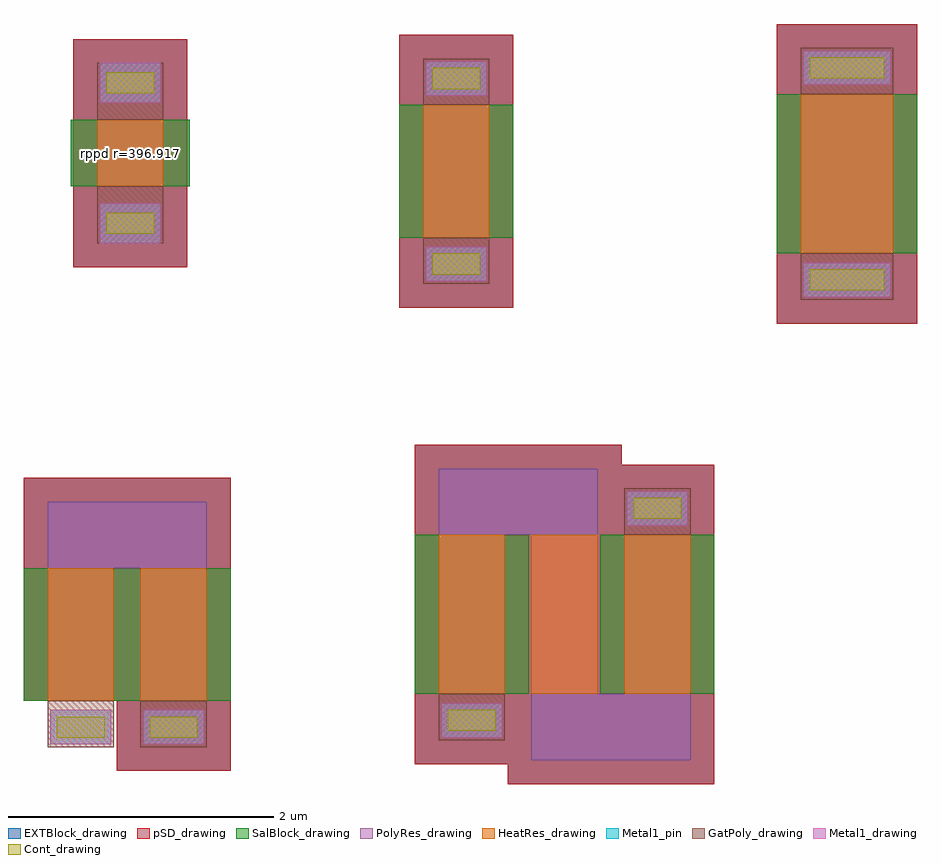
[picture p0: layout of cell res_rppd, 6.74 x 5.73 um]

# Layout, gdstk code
import gdstk
lib = gdstk.Library(unit=1e-6, precision=1e-09)
def R(c, l, rs):  # rectangles x0, y0, x1, y1
    for r in rs: c.add(gdstk.rectangle(r[:2], r[2:], *l))
def A(c, l, x, y, w, h, nx, ny, dx, dy):  # array of equal rectangles
    R(c, l, [(x+i*dx, y+j*dy, x+i*dx+w, y+j*dy+h) for i in range(nx) for j in range(ny)])
GatPoly_drawing = (5, 0)
Cont_drawing = (6, 0)
Metal1_drawing = (8, 0)
Metal1_pin = (8, 2)
pSD_drawing = (14, 0)
SalBlock_drawing = (28, 0)
HeatRes_drawing = (52, 0)
EXTBlock_drawing = (111, 0)
PolyRes_drawing = (128, 0)

res_rppd = lib.new_cell('res_rppd')
R(res_rppd, GatPoly_drawing, [(2.209,-4.231,2.709,-3.881), (2.909,-4.231,3.409,-3.881), (5.159,-4.18,5.659,-3.83), (6.559,-2.63,7.059,-2.28), (7.889,-0.856,8.589,-0.506), (5.042,-0.737,5.542,-0.387), (2.582,-0.43,3.082,-0.2), (2.582,-0.2,3.082,0), (2.582,0.5,3.082,0.7), (5.042,0.613,5.542,0.963), (7.889,0.694,8.589,1.044), (2.582,0.7,3.082,0.93)])
R(res_rppd, Cont_drawing, [(2.279,-4.161,2.639,-4.001), (2.979,-4.161,3.339,-4.001), (5.229,-4.11,5.589,-3.95), (6.629,-2.51,6.989,-2.35), (7.959,-0.786,8.519,-0.626), (5.112,-0.667,5.472,-0.507), (2.652,-0.36,3.012,-0.2), (2.652,0.7,3.012,0.86), (5.112,0.733,5.472,0.893), (7.959,0.814,8.519,0.974)])
R(res_rppd, Metal1_drawing, [(2.229,-4.211,2.689,-3.951), (2.929,-4.211,3.389,-3.951), (5.179,-4.16,5.639,-3.9), (6.579,-2.56,7.039,-2.3), (7.909,-0.836,8.569,-0.576), (5.062,-0.717,5.522,-0.457), (2.602,-0.43,3.062,-0.13), (2.602,0.63,3.062,0.93), (5.062,0.683,5.522,0.943), (7.909,0.764,8.569,1.024)])
R(res_rppd, Metal1_pin, [(2.229,-4.211,2.689,-3.951), (2.229,-4.211,2.689,-3.951), (2.929,-4.211,3.389,-3.951), (2.929,-4.211,3.389,-3.951), (5.179,-4.16,5.639,-3.9), (5.179,-4.16,5.639,-3.9), (6.579,-2.56,7.039,-2.3), (6.579,-2.56,7.039,-2.3), (7.909,-0.836,8.569,-0.576), (7.909,-0.836,8.569,-0.576), (5.062,-0.717,5.522,-0.457), (5.062,-0.717,5.522,-0.457), (2.602,-0.43,3.062,-0.13), (2.602,0.63,3.062,0.93), (5.062,0.683,5.522,0.943), (5.062,0.683,5.522,0.943), (7.909,0.764,8.569,1.024), (7.909,0.764,8.569,1.024)])
A(res_rppd, pSD_drawing, 4.979, -3.83, 0.86, 1.2, 3, 1, 0.7, 0)
R(res_rppd, pSD_drawing, [(5.679,-4.51,7.239,-3.65), (2.729,-4.411,3.589,-2.881), (4.979,-4.36,5.839,-3.83), (2.029,-3.881,2.889,-2.881), (2.729,-3.881,3.589,-2.881), (6.379,-3.83,7.239,-2.1), (2.029,-3.061,3.589,-2.201), (4.979,-2.81,6.539,-1.95), (7.709,-1.036,8.769,-0.506), (4.862,-0.917,5.722,-0.387), (2.402,-0.61,3.262,0), (7.709,-0.506,8.769,0.694), (7.709,-0.506,8.769,1.224), (4.862,-0.387,5.722,0.613), (4.862,-0.387,5.722,1.143), (2.402,0,3.262,0.5), (2.402,0.5,3.262,1.11)])
R(res_rppd, SalBlock_drawing, [(2.029,-3.881,2.889,-2.881), (2.729,-3.881,3.589,-2.881), (4.979,-3.83,5.839,-2.63), (6.379,-3.83,7.239,-2.63), (7.709,-0.506,8.769,0.694), (4.862,-0.387,5.722,0.613), (2.382,0,3.282,0.5)])
A(res_rppd, HeatRes_drawing, 5.159, -3.83, 0.5, 1.2, 3, 1, 0.7, 0)
R(res_rppd, HeatRes_drawing, [(2.209,-3.881,2.709,-2.881), (2.909,-3.881,3.409,-2.881), (7.889,-0.506,8.589,0.694), (5.042,-0.387,5.542,0.613), (2.582,0,3.082,0.5)])
A(res_rppd, EXTBlock_drawing, 4.979, -3.83, 0.86, 1.2, 3, 1, 0.7, 0)
R(res_rppd, EXTBlock_drawing, [(5.679,-4.51,7.239,-3.65), (2.729,-4.411,3.589,-2.881), (4.979,-4.36,5.839,-3.83), (2.029,-3.881,2.889,-2.881), (2.729,-3.881,3.589,-2.881), (6.379,-3.83,7.239,-2.1), (2.029,-3.061,3.589,-2.201), (4.979,-2.81,6.539,-1.95), (7.709,-1.036,8.769,-0.506), (4.862,-0.917,5.722,-0.387), (2.402,-0.61,3.262,0), (7.709,-0.506,8.769,0.694), (7.709,-0.506,8.769,1.224), (4.862,-0.387,5.722,0.613), (4.862,-0.387,5.722,1.143), (2.382,0,3.282,0.5), (2.402,0.5,3.262,1.11)])
A(res_rppd, PolyRes_drawing, 5.159, -3.83, 0.5, 1.2, 3, 1, 0.7, 0)
R(res_rppd, PolyRes_drawing, [(5.859,-4.33,7.059,-3.83), (2.209,-3.881,2.709,-2.881), (2.909,-3.881,3.409,-2.881), (2.209,-2.881,3.409,-2.381), (5.159,-2.63,6.359,-2.13), (7.889,-0.506,8.589,0.694), (5.042,-0.387,5.542,0.613), (2.582,0,3.082,0.5)])
res_rppd.add(gdstk.Label('rppd r=396.917', (2.832,0.25), layer=63, texttype=0))
res_rppd.add(gdstk.Label('rppd', (2.832,0.25), layer=52, texttype=0))

lib.write_gds('res_rppd.gds')
